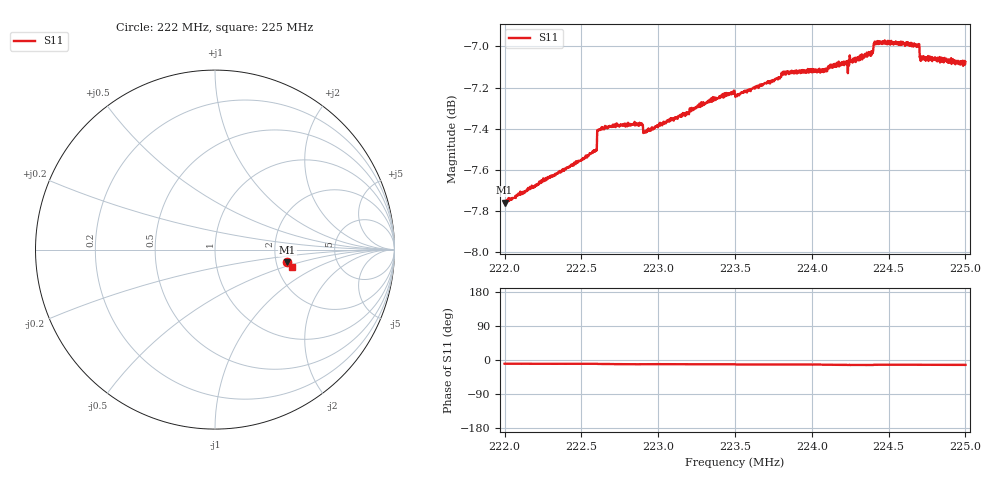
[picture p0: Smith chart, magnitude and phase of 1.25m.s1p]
! Calibrated averaged scanner-service zoom
# Hz S RI R 50
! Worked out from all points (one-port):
!   1001 points, 222 MHz to 225 MHz, reference 50 ohm
!   lowest |S11| = -7.8 dB at 222 MHz (marker M1), VSWR 2.39, Z = 115 - j19.4 ohm
!   |S11| at or under -10 dB: nowhere
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2.22e8  0.4033 -0.07
2.22375e8  0.4101 -0.0727
2.22585e8  0.4152 -0.0729
2.22618e8  0.4193 -0.077
2.2275e8  0.4195 -0.0808
2.22885e8  0.4193 -0.0832
2.22918e8  0.4185 -0.0803
2.23125e8  0.4209 -0.0827
2.23179e8  0.4219 -0.0833
2.23245e8  0.4234 -0.0832
2.23332e8  0.4252 -0.0839
2.2347e8  0.4265 -0.0852
2.23485e8  0.4271 -0.0852
2.235e8  0.4263 -0.0859
2.23518e8  0.4258 -0.0881
2.23575e8  0.4266 -0.0892
2.23785e8  0.4291 -0.0921
2.23818e8  0.4305 -0.0907
2.23875e8  0.4306 -0.0909
2.24085e8  0.4305 -0.0934
2.24118e8  0.4312 -0.0967
2.2425e8  0.4323 -0.0989
2.24385e8  0.4327 -0.101
2.24418e8  0.437 -0.0975
2.24625e8  0.437 -0.0974
2.24685e8  0.4362 -0.0971
2.24721e8  0.433 -0.0956
2.25e8  0.4316 -0.0992
